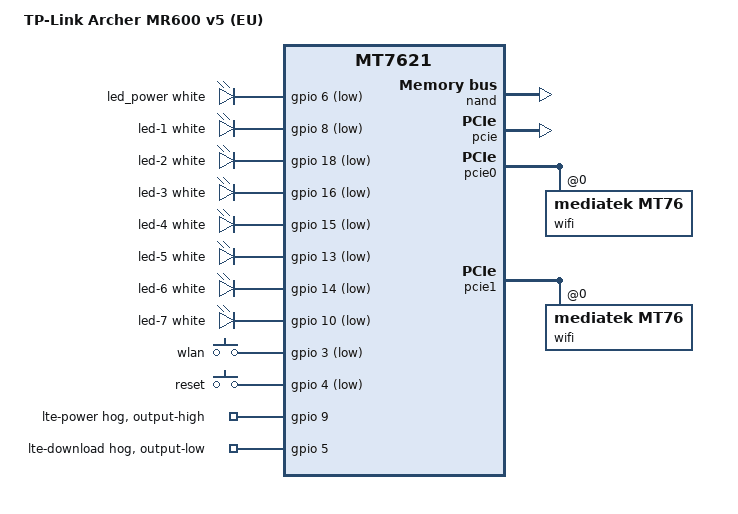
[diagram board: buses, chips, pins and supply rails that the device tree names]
// SPDX-License-Identifier: GPL-2.0-or-later OR MIT

#include "mt7621.dtsi"

#include <dt-bindings/gpio/gpio.h>
#include <dt-bindings/input/input.h>
#include <dt-bindings/leds/common.h>

/ {
	compatible = "tplink,mr600-v5-eu", "mediatek,mt7621-soc";
	model = "TP-Link Archer MR600 v5 (EU)";

	aliases {
		label-mac-device = &gmac0;
		led-boot = &led_power;
		led-failsafe = &led_power;
		led-running = &led_power;
		led-upgrade = &led_power;
	};

	chosen {
		bootargs-override = "console=ttyS0,115200";
	};

	leds {
		compatible = "gpio-leds";

		led_power: led-0 {
			function = LED_FUNCTION_POWER;
			color = <LED_COLOR_ID_WHITE>;
			gpios = <&gpio 6 GPIO_ACTIVE_LOW>;
		};

		led-1 {
			function = LED_FUNCTION_WAN;
			color = <LED_COLOR_ID_WHITE>;
			gpios = <&gpio 8 GPIO_ACTIVE_LOW>;
		};

		led-2 {
			function = LED_FUNCTION_MOBILE;
			color = <LED_COLOR_ID_WHITE>;
			gpios = <&gpio 18 GPIO_ACTIVE_LOW>;
		};

		led-3 {
			function = LED_FUNCTION_WLAN;
			color = <LED_COLOR_ID_WHITE>;
			gpios = <&gpio 16 GPIO_ACTIVE_LOW>;
		};

		led-4 {
			function = LED_FUNCTION_LAN;
			color = <LED_COLOR_ID_WHITE>;
			gpios = <&gpio 15 GPIO_ACTIVE_LOW>;
		};

		led-5 {
			function = "signal";
			function-enumerator = <1>;
			color = <LED_COLOR_ID_WHITE>;
			gpios = <&gpio 13 GPIO_ACTIVE_LOW>;
		};

		led-6 {
			function = "signal";
			function-enumerator = <2>;
			color = <LED_COLOR_ID_WHITE>;
			gpios = <&gpio 14 GPIO_ACTIVE_LOW>;
		};

		led-7 {
			function = "signal";
			function-enumerator = <3>;
			color = <LED_COLOR_ID_WHITE>;
			gpios = <&gpio 10 GPIO_ACTIVE_LOW>;
		};
	};

	keys {
		compatible = "gpio-keys";

		key-wlan {
			label = "wlan";
			gpios = <&gpio 3 GPIO_ACTIVE_LOW>;
			linux,code = <KEY_WLAN>;
		};

		key-reset {
			label = "reset";
			gpios = <&gpio 4 GPIO_ACTIVE_LOW>;
			linux,code = <KEY_RESTART>;
		};
	};
};

&gpio {
	lte-power-hog {
		gpio-hog;
		gpios = <9 GPIO_ACTIVE_HIGH>;
		output-high;
		line-name = "lte-power";
	};

	lte-download-hog {
		gpio-hog;
		gpios = <5 GPIO_ACTIVE_HIGH>;
		output-low;
		line-name = "lte-download";
	};
};

&nand {
	status = "okay";

	/*
	 * The chip reports 128 bytes of OOB, but the stock U-Boot uses 64 bytes
	 * (4-bit ECC), and it has to read the kernel written by OpenWrt.
	 */
	mediatek,oob-size = <64>;

	/*
	 * Stock TP-Link dual image layout. The stock U-Boot boots the JFFS2
	 * file "linux*" from the slot selected by its boot flag ("bootidx"):
	 * image0 = stock_kernel, image1 = kernel (OpenWrt).
	 */
	partitions {
		compatible = "fixed-partitions";
		#address-cells = <1>;
		#size-cells = <1>;

		partition@0 {
			label = "boot";
			reg = <0x0 0x200000>;
			read-only;
		};

		/* factory data; read-only makes UBI attach in read-only mode */
		partition@200000 {
			compatible = "linux,ubi";
			label = "misc_ro";
			reg = <0x200000 0x600000>;
			read-only;

			volumes {
				ubi_misc_ro: ubi-volume-misc-ro {
					volid = <0>;
				};
			};
		};

		partition@800000 {
			label = "misc_rw";
			reg = <0x800000 0x1200000>;
			read-only;
		};

		partition@1a00000 {
			label = "stock_kernel";
			reg = <0x1a00000 0x800000>;
			read-only;
		};

		partition@2200000 {
			label = "stock_rootfs";
			reg = <0x2200000 0x1000000>;
			read-only;
		};

		partition@3200000 {
			label = "kernel";
			reg = <0x3200000 0x800000>;
		};

		partition@3a00000 {
			label = "stock_rootfs2";
			reg = <0x3a00000 0x1000000>;
			read-only;
		};

		/* U-Boot's bootidx erases 0x4a00000-0x5000000 to store the flag */
		partition@4a00000 {
			label = "bflag";
			reg = <0x4a00000 0x600000>;
			read-only;
		};

		partition@5000000 {
			label = "ubi";
			reg = <0x5000000 0xaf00000>;
		};

		partition@ff00000 {
			label = "bmt";
			reg = <0xff00000 0x100000>;
			read-only;
		};
	};
};

&pcie {
	status = "okay";
};

/*
 * The calibration data and the MAC address are files of the UBIFS in
 * misc_ro, each stored in one uncompressed data node. The cells point at
 * the node data. mt76 needs cells of its full EEPROM buffer size and does
 * not use the bytes beyond the file sizes (512 and 1536 bytes).
 */
&ubi_misc_ro {
	nvmem-layout {
		compatible = "fixed-layout";
		#address-cells = <1>;
		#size-cells = <1>;

		eeprom_misc_ro_43d830: eeprom@43d830 {
			reg = <0x43d830 0x400>;
		};

		eeprom_misc_ro_43e030: eeprom@43e030 {
			reg = <0x43e030 0x4da8>;
		};

		macaddr_misc_ro_43f830: macaddr@43f830 {
			compatible = "mac-base";
			reg = <0x43f830 0x6>;
			#nvmem-cell-cells = <1>;
		};
	};
};

&pcie0 {
	wifi@0,0 {
		compatible = "mediatek,mt76";
		reg = <0x0000 0 0 0 0>;
		ieee80211-freq-limit = <2400000 2500000>;
		nvmem-cells = <&eeprom_misc_ro_43d830>, <&macaddr_misc_ro_43f830 0>;
		nvmem-cell-names = "eeprom", "mac-address";
	};
};

&pcie1 {
	wifi@0,0 {
		compatible = "mediatek,mt76";
		reg = <0x0000 0 0 0 0>;
		ieee80211-freq-limit = <5000000 6000000>;
		nvmem-cells = <&eeprom_misc_ro_43e030>, <&macaddr_misc_ro_43f830 (-1)>;
		nvmem-cell-names = "eeprom", "mac-address";
	};
};

&gmac0 {
	nvmem-cells = <&macaddr_misc_ro_43f830 0>;
	nvmem-cell-names = "mac-address";
};

&switch0 {
	ports {
		port@1 {
			status = "okay";
			label = "lan1";
		};

		port@2 {
			status = "okay";
			label = "lan2";
		};

		port@3 {
			status = "okay";
			label = "lan3";
		};

		port@4 {
			status = "okay";
			label = "wan";
		};
	};
};
